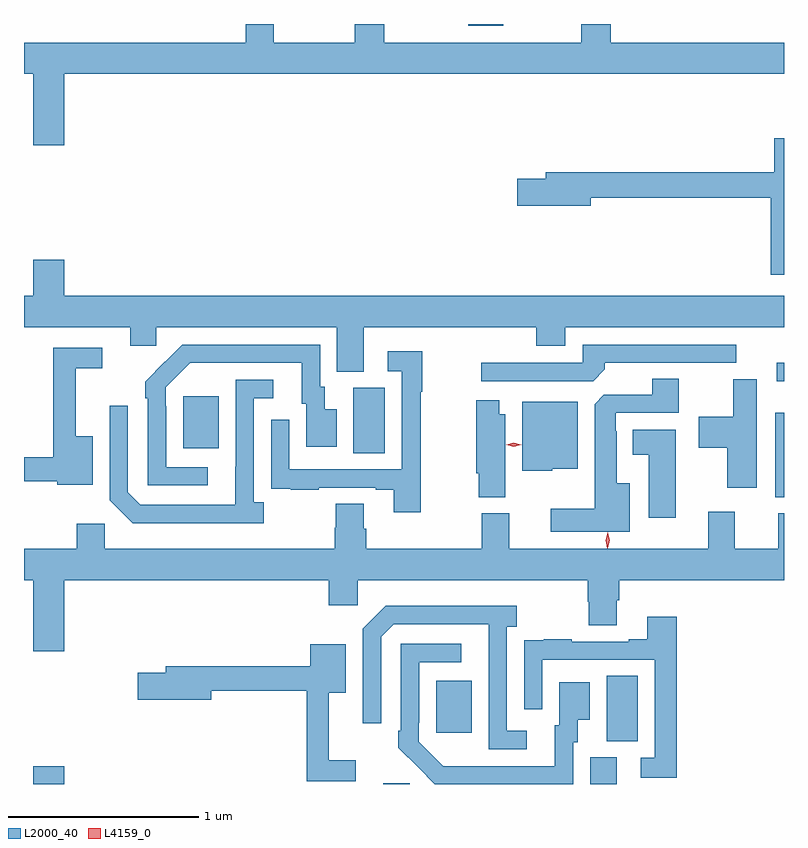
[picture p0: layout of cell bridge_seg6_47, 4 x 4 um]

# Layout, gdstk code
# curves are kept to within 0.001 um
import gdstk
lib = gdstk.Library(unit=1e-6, precision=1e-09)
def R(c, l, rs):  # rectangles x0, y0, x1, y1
    for r in rs: c.add(gdstk.rectangle(r[:2], r[2:], *l))
def P(c, l, *ps):  # polygons
    for p in ps: c.add(gdstk.Polygon(p, *l))
L2000_40 = (2000, 40)
L4159_0 = (4159, 0)

bridge_seg6_47 = lib.new_cell('bridge_seg6_47')
R(bridge_seg6_47, L2000_40, [(1064.108,987.555,1064.272,987.649), (1065.95,987.555,1066.089,987.558), (1067.039,987.555,1067.179,987.696), (1067.126,987.781,1067.29,988.124), (1066.229,987.825,1066.417,988.099), (1068.014,989.065,1068.06,989.509), (1065.794,989.296,1065.958,989.64), (1064.897,989.321,1065.085,989.596), (1068.021,989.676,1068.06,989.772), (1066.397,991.547,1066.582,991.555)])
P(bridge_seg6_47, L2000_40, [(1064.272,991.292),(1068.06,991.292),(1068.06,991.456),(1067.147,991.456),(1067.147,991.555),(1066.994,991.555),(1066.994,991.456),(1065.957,991.456),(1065.957,991.555),(1065.802,991.555),(1065.802,991.456),(1065.375,991.456),(1065.375,991.555),(1065.228,991.555),(1065.228,991.456),(1064.06,991.456),(1064.06,991.292),(1064.108,991.292),(1064.108,990.918),(1064.272,990.918)],
  [(1068.06,990.955),(1068.009,990.955),(1068.009,990.776),(1066.805,990.776),(1066.805,990.74),(1066.656,990.74),(1066.656,990.598),(1067.044,990.598),(1067.044,990.64),(1067.989,990.64),(1067.989,990.234),(1068.06,990.234)],
  [(1065.847,989.96),(1066.757,989.96),(1066.757,989.861),(1066.909,989.861),(1066.909,989.96),(1068.06,989.96),(1068.06,990.124),(1064.272,990.124),(1064.272,990.313),(1064.108,990.313),(1064.108,990.124),(1064.06,990.124),(1064.06,989.96),(1064.618,989.96),(1064.618,989.862),(1064.757,989.862),(1064.757,989.96),(1065.707,989.96),(1065.707,989.725),(1065.847,989.725)],
  [(1067.117,989.738),(1067.117,989.772),(1067.809,989.772),(1067.809,989.868),(1067.001,989.868),(1067.001,989.772),(1066.467,989.772),(1066.467,989.676),(1067.055,989.676)],
  [(1065.028,989.223),(1064.808,989.223),(1064.808,989.543),(1064.805,989.543),(1064.805,989.643),(1064.934,989.772),(1065.521,989.772),(1065.521,989.556),(1065.545,989.556),(1065.545,989.331),(1065.706,989.331),(1065.706,989.527),(1065.643,989.527),(1065.643,989.646),(1065.618,989.646),(1065.618,989.868),(1064.894,989.868),(1064.697,989.673),(1064.697,989.585),(1064.712,989.585),(1064.712,989.127),(1065.028,989.127)],
  [(1064.422,989.386),(1064.333,989.386),(1064.333,989.742),(1064.473,989.742),(1064.473,989.85),(1064.215,989.85),(1064.215,989.276),(1064.06,989.276),(1064.06,989.148),(1064.234,989.148),(1064.234,989.129),(1064.422,989.129)],
  [(1066.148,989.62),(1066.156,989.62),(1066.156,989.833),(1065.975,989.833),(1065.975,989.727),(1066.047,989.727),(1066.047,989.211),(1065.456,989.211),(1065.456,989.473),(1065.36,989.473),(1065.36,989.218),(1065.361,989.218),(1065.361,989.109),(1065.463,989.109),(1065.463,989.103),(1065.611,989.103),(1065.611,989.115),(1065.911,989.115),(1065.911,989.103),(1066.007,989.103),(1066.007,988.986),(1066.148,988.986)],
  [(1067.248,989.137),(1067.179,989.137),(1067.179,989.411),(1067.175,989.411),(1067.175,989.508),(1067.506,989.508),(1067.506,989.687),(1067.366,989.687),(1067.366,989.604),(1067.112,989.604),(1067.063,989.555),(1067.063,989.005),(1066.833,989.005),(1066.833,988.883),(1067.248,988.883)],
  [(1067.917,989.686),(1067.792,989.686),(1067.792,989.488),(1067.61,989.488),(1067.61,989.326),(1067.762,989.326),(1067.762,989.115),(1067.917,989.115)],
  [(1065.322,989.038),(1065.27,989.038),(1065.27,989.586),(1065.373,989.586),(1065.373,989.682),(1065.174,989.682),(1065.173,989.025),(1064.673,989.025),(1064.607,989.091),(1064.607,989.545),(1064.511,989.545),(1064.511,989.049),(1064.632,988.928),(1065.322,988.928)],
  [(1066.594,989.5),(1066.561,989.5),(1066.561,989.575),(1066.439,989.575),(1066.439,989.19),(1066.453,989.19),(1066.453,989.065),(1066.594,989.065)],
  [(1066.839,989.213),(1066.975,989.213),(1066.975,989.566),(1066.682,989.566),(1066.682,989.204),(1066.839,989.204)],
  [(1067.491,989.419),(1067.264,989.419),(1067.264,989.288),(1067.348,989.288),(1067.348,988.956),(1067.491,988.956)],
  [(1064.272,988.628),(1065.665,988.628),(1065.665,988.497),(1065.816,988.497),(1065.816,988.628),(1067.027,988.628),(1067.027,988.515),(1067.032,988.515),(1067.032,988.39),(1067.179,988.39),(1067.179,988.522),(1067.192,988.522),(1067.192,988.628),(1068.06,988.628),(1068.06,988.98),(1068.029,988.98),(1068.029,988.792),(1067.8,988.792),(1067.8,988.987),(1067.66,988.987),(1067.66,988.792),(1066.615,988.792),(1066.615,988.98),(1066.468,988.98),(1066.468,988.792),(1065.86,988.792),(1065.86,988.898),(1065.847,988.898),(1065.847,989.03),(1065.7,989.03),(1065.7,988.905),(1065.695,988.905),(1065.695,988.792),(1064.484,988.792),(1064.484,988.924),(1064.338,988.924),(1064.338,988.792),(1064.06,988.792),(1064.06,988.628),(1064.108,988.628),(1064.108,988.254),(1064.272,988.254)],
  [(1066.705,987.834),(1066.602,987.834),(1066.602,988.382),(1066.654,988.382),(1066.654,988.492),(1065.964,988.492),(1065.843,988.371),(1065.843,987.876),(1065.939,987.876),(1065.939,988.329),(1066.005,988.395),(1066.505,988.395),(1066.506,987.738),(1066.705,987.738)],
  [(1067.495,988.435),(1067.339,988.435),(1067.339,988.318),(1067.243,988.318),(1067.243,988.305),(1066.943,988.305),(1066.943,988.318),(1066.795,988.318),(1066.795,988.311),(1066.693,988.311),(1066.693,988.202),(1066.692,988.202),(1066.692,987.948),(1066.788,987.948),(1066.788,988.209),(1067.379,988.209),(1067.379,987.693),(1067.307,987.693),(1067.307,987.588),(1067.495,987.588)],
  [(1066.95,987.774),(1066.975,987.774),(1066.975,987.893),(1067.038,987.893),(1067.038,988.09),(1066.877,988.09),(1066.877,987.864),(1066.853,987.864),(1066.853,987.648),(1066.266,987.649),(1066.137,987.777),(1066.137,987.877),(1066.14,987.877),(1066.14,988.197),(1066.36,988.197),(1066.36,988.293),(1066.044,988.293),(1066.044,987.835),(1066.029,987.835),(1066.029,987.747),(1066.223,987.555),(1066.95,987.555)],
  [(1065.805,987.679),(1065.665,987.679),(1065.665,988.034),(1065.754,988.034),(1065.754,988.291),(1065.566,988.291),(1065.566,988.174),(1064.807,988.174),(1064.807,988.14),(1064.658,988.14),(1064.658,987.998),(1065.046,987.998),(1065.046,988.045),(1065.547,988.045),(1065.547,987.57),(1065.805,987.57)])
P(bridge_seg6_47, L4159_0, [(1067.131,988.797),(1067.122,988.838),(1067.132,988.879),(1067.132,988.879),(1067.132,988.879),(1067.142,988.838),(1067.132,988.797),(1067.132,988.797)],
  [(1066.637,989.331),(1066.599,989.341),(1066.598,989.341),(1066.599,989.341),(1066.637,989.351),(1066.676,989.341),(1066.676,989.341),(1066.676,989.341)])

lib.write_gds('bridge_seg6_47.gds')
